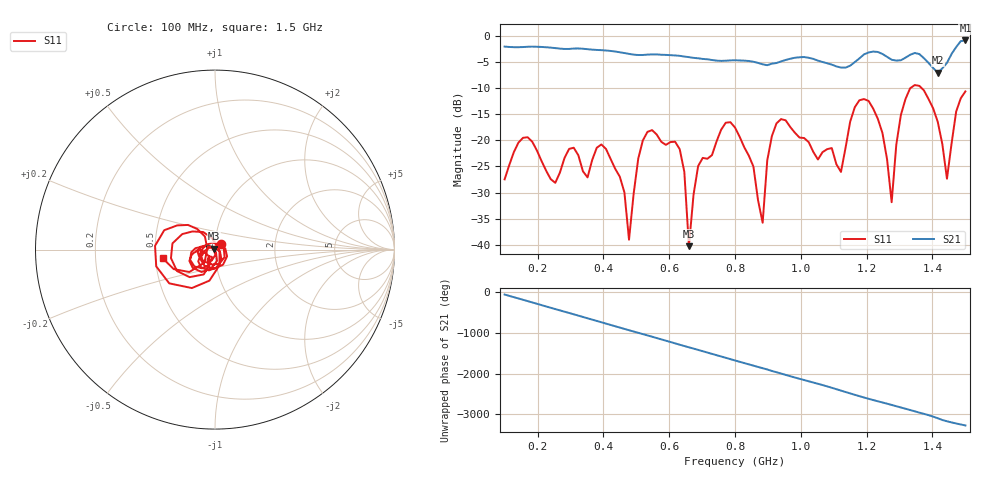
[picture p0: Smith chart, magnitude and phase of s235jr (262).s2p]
! NanoVNA-App
! Date: 2025-09-25 15:06:12
! Start: 100MHz Stop: 1,5GHz Points: 101
! S-Parameter data: F S11 S21 S12 S22
# Hz S RI R 50
!  Frequency  S11_Real  S11_Imag  S21_Real  S21_Imag  S12_Real  S12_Imag  S22_Real  S22_Imag
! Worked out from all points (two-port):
!   101 points, 100 MHz to 1.5 GHz, reference 50 ohm
!   highest |S21| = -0.79 dB at 1.5 GHz (marker M1); lowest = -7.0 dB at 1.416 GHz (marker M2)
!   |S21| within 3 dB of the highest: start of sweep to 636.8 MHz; 1.186 GHz to 1.258 GHz (72.22 MHz wide, 5.91 % of centre) (the widest 2 of 4)
!   lowest |S11| = -40.3 dB at 660 MHz (marker M3), VSWR 1.02, Z = 49.2 + j0.587 ohm
!   |S11| at or under -10 dB: start of sweep to 1.332 GHz; 1.368 GHz to end of sweep
!   S12 and S22 are empty: the file has one direction only
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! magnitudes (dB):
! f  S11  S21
! 100 MHz  -27.5  -2.0
! 170 MHz  -19.4  -2.0
! 338 MHz  -25.9  -2.4
! 408 MHz  -21.6  -2.7
! 478 MHz  -39.1  -3.4
! 520 MHz  -20.0  -3.6
! 576 MHz  -20.3  -3.5
! 632 MHz  -21.7  -3.7
! 660 MHz  -40.3  -4.0
! 688 MHz  -24.9  -4.2
! 800 MHz  -17.5  -4.6
! 884 MHz  -35.8  -5.4
! 926 MHz  -16.7  -5.1
! 1.038 GHz  -22.2  -4.3
! 1.122 GHz  -26.0  -6.0
! 1.206 GHz  -12.4  -3.1
! 1.276 GHz  -31.9  -4.5
! 1.304 GHz  -15.1  -4.6
! 1.332 GHz  -10.0  -3.5
! 1.416 GHz  -16.4  -7.0
! 1.444 GHz  -27.4  -5.1
! 1.5 GHz  -10.6  -0.8
